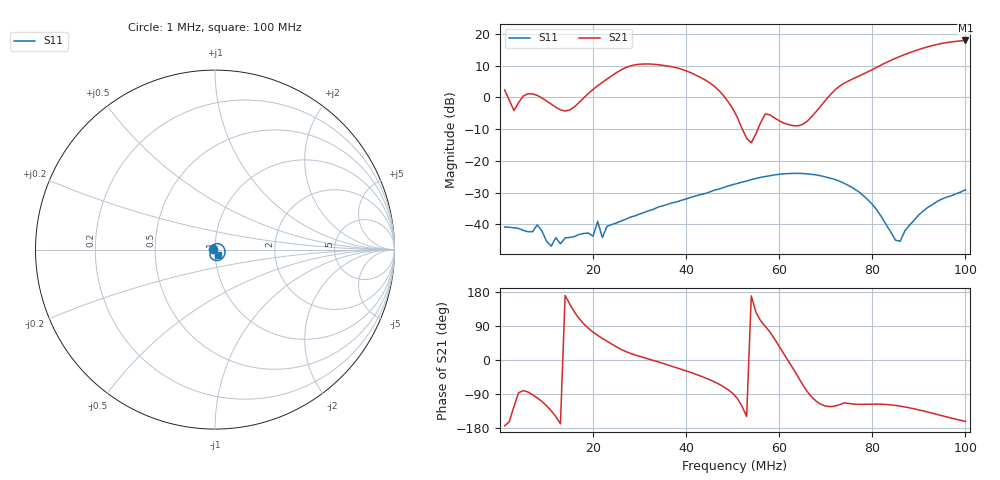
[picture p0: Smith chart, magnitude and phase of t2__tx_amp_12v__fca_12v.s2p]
# HZ S RI R 50
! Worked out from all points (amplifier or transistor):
!   100 points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, 1 MHz to 100 MHz, reference 50 ohm
!   highest |S21| = 17.9 dB at 100 MHz (marker M1)
!   |S21| within 3 dB of that: 89.71 MHz to end of sweep
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1000001  -0.00907 0.00062  -1.302 -0.1452  0 0  0 0
4000001  -0.00857 0.00103  0.0525 -0.8237  0 0  0 0
7000001  -0.00752 0.00145  -0.0333 -1.133  0 0  0 0
1.3e7  -0.00493 -0.000265  -0.6214 -0.1275  0 0  0 0
1.8e7  -0.00695 -0.00185  -0.0905 0.9761  0 0  0 0
2.3e7  -0.00921 -0.00148  1.264 1.477  0 0  0 0
2.8e7  -0.0129 -0.0012  2.981 0.9447  0 0  0 0
3.4e7  -0.0175 0.00673  3.249 -0.2868  0 0  0 0
3.9e7  -0.0149 0.0187  2.518 -1.16  0 0  0 0
4.3e7  -0.00446 0.029  1.545 -1.384  0 0  0 0
4.7e7  0.0138 0.0331  0.5799 -1.154  0 0  0 0
5.1e7  0.0356 0.026  -0.096 -0.4739  0 0  0 0
5.4e7  0.0494 0.0115  -0.189 0.0364  0 0  0 0
5.7e7  0.0558 -0.00968  0.0122 0.5485  0 0  0 0
6.2e7  0.0422 -0.0469  0.3718 -0.0222  0 0  0 0
6.7e7  0.00691 -0.0609  -0.0686 -0.4934  0 0  0 0
7.8e7  -0.0242 -0.0152  -1.05 -2.067  0 0  0 0
8.4e7  -0.00563 -0.00497  -1.829 -3.368  0 0  0 0
8.8e7  0.00496 -0.00836  -2.983 -4.07  0 0  0 0
9.2e7  0.0118 -0.0145  -4.635 -4.225  0 0  0 0
9.6e7  0.0157 -0.0218  -6.325 -3.616  0 0  0 0
1e8  0.0191 -0.0293  -7.485 -2.427  0 0  0 0
